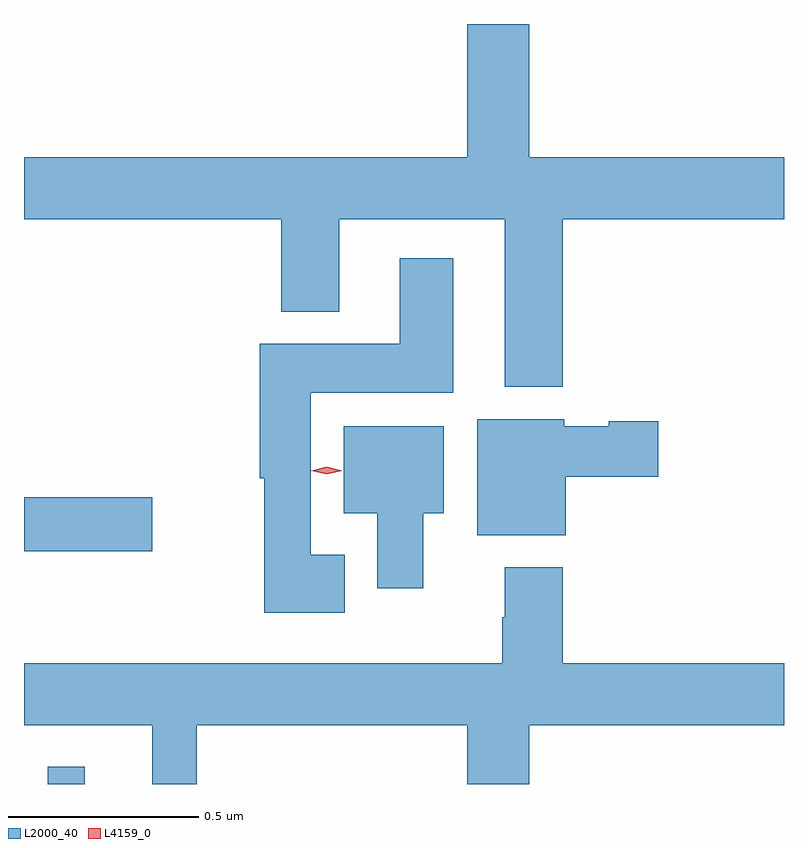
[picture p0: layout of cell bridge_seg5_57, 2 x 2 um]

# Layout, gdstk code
import gdstk
lib = gdstk.Library(unit=1e-6, precision=1e-09)
def R(c, l, rs):  # rectangles x0, y0, x1, y1
    for r in rs: c.add(gdstk.rectangle(r[:2], r[2:], *l))
def P(c, l, *ps):  # polygons
    for p in ps: c.add(gdstk.Polygon(p, *l))
L2000_40 = (2000, 40)
L4159_0 = (4159, 0)

bridge_seg5_57 = lib.new_cell('bridge_seg5_57')
R(bridge_seg5_57, L2000_40, [(763.305,912.55,763.402,912.595), (763.242,913.162,763.579,913.304)])
P(bridge_seg5_57, L2000_40, [(764.66,914.036),(765.242,914.036),(765.242,914.2),(764.572,914.2),(764.572,914.55),(764.408,914.55),(764.408,914.2),(763.242,914.2),(763.242,914.036),(763.919,914.036),(763.919,913.793),(764.071,913.793),(764.071,914.036),(764.507,914.036),(764.507,913.595),(764.66,913.595)],
  [(764.086,913.153),(763.996,913.153),(763.996,913.58),(764.371,913.58),(764.371,913.933),(764.231,913.933),(764.231,913.708),(763.862,913.708),(763.862,913.355),(763.874,913.355),(763.874,913.001),(764.086,913.001)],
  [(764.668,913.358),(764.911,913.358),(764.911,913.505),(764.781,913.505),(764.781,913.492),(764.664,913.492),(764.664,913.51),(764.435,913.51),(764.435,913.205),(764.668,913.205)],
  [(764.293,913.262),(764.347,913.262),(764.347,913.492),(764.084,913.492),(764.084,913.262),(764.171,913.262),(764.171,913.065),(764.293,913.065)],
  [(763.697,912.704),(764.408,912.704),(764.408,912.55),(764.572,912.55),(764.572,912.704),(765.242,912.704),(765.242,912.868),(764.66,912.868),(764.66,913.12),(764.507,913.12),(764.507,912.989),(764.5,912.989),(764.5,912.868),(763.242,912.868),(763.242,912.704),(763.58,912.704),(763.58,912.55),(763.697,912.55)])
P(bridge_seg5_57, L4159_0, [(764.039,913.365),(763.998,913.375),(763.998,913.375),(763.998,913.375),(764.039,913.385),(764.08,913.374),(764.08,913.374),(764.08,913.374)])

lib.write_gds('bridge_seg5_57.gds')
